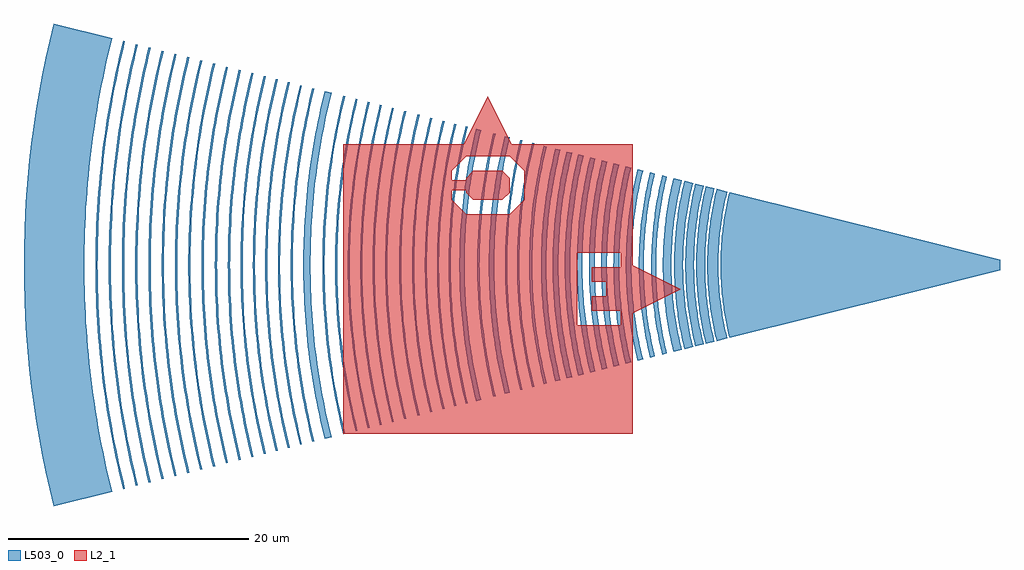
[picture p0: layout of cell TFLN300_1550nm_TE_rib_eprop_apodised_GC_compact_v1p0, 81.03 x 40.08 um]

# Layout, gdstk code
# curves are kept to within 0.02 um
import gdstk
lib = gdstk.Library(unit=1e-6, precision=1e-09)
def P(c, l, *ps):  # polygons
    for p in ps: c.add(gdstk.Polygon(p, *l))
L2_1 = (2, 1)
L503_0 = (503, 0)

tfln300_1550nm_te_rib_ep = lib.new_cell('TFLN300_1550nm_TE_rib_eprop_apodised_GC_compact_v1p0')
P(tfln300_1550nm_te_rib_ep, L2_1, [(-54.542,-14.028),(-54.542,1.001),(-35.102,1.001),(-35.102,-5.011),(-31.495,-5.011),(-31.495,-3.809),(-33.899,-3.809),(-33.899,-2.606),(-32.697,-2.606),(-32.697,-1.404),(-33.899,-1.404),(-33.899,-0.202),(-31.495,-0.202),(-31.495,1.001),(-54.542,1.001),(-54.542,9.019),(-44.322,9.019),(-45.525,7.816),(-45.525,7.035),(-44.322,7.035),(-44.322,7.215),(-43.721,7.816),(-41.317,7.816),(-40.715,7.215),(-40.715,6.013),(-41.317,5.412),(-43.721,5.412),(-44.322,6.013),(-44.322,6.193),(-45.525,6.193),(-45.525,5.412),(-44.322,4.209),(-40.715,4.209),(-39.513,5.412),(-39.513,7.816),(-40.715,9.019),(-54.542,9.019),(-54.542,10.019),(-44.523,10.019),(-42.519,14.027),(-40.515,10.019),(-30.496,10.019),(-30.495,-0.001),(-26.487,-2.005),(-30.495,-4.009),(-30.495,-14.028)])
P(tfln300_1550nm_te_rib_ep, L503_0, [(-22.452,-6.048),(-22.776,-4.556),(-23.009,-3.047),(-23.148,-1.526),(-23.195,0),(-23.148,1.526),(-23.009,3.047),(-22.776,4.556),(-22.452,6.048),(0,0.45),(0,-0.45)],
  [(-23.52,-6.314),(-23.858,-4.756),(-24.1,-3.181),(-24.246,-1.593),(-24.295,0),(-24.246,1.593),(-24.1,3.181),(-23.858,4.756),(-23.52,6.314),(-22.639,6.094),(-22.966,4.591),(-23.201,3.07),(-23.341,1.538),(-23.388,0),(-23.341,-1.538),(-23.201,-3.07),(-22.966,-4.591),(-22.639,-6.094)],
  [(-24.412,-6.536),(-24.763,-4.924),(-25.014,-3.293),(-25.165,-1.65),(-25.215,0),(-25.165,1.65),(-25.014,3.293),(-24.763,4.924),(-24.412,6.536),(-23.707,6.361),(-24.048,4.791),(-24.292,3.204),(-24.439,1.605),(-24.488,0),(-24.439,-1.605),(-24.292,-3.204),(-24.048,-4.791),(-23.707,-6.361)],
  [(-25.286,-6.754),(-25.647,-5.088),(-25.907,-3.403),(-26.063,-1.704),(-26.115,0),(-26.063,1.704),(-25.907,3.403),(-25.647,5.088),(-25.286,6.754),(-24.599,6.583),(-24.953,4.959),(-25.206,3.316),(-25.358,1.662),(-25.408,0),(-25.358,-1.662),(-25.206,-3.316),(-24.953,-4.959),(-24.599,-6.583)],
  [(-26.193,-6.98),(-26.567,-5.258),(-26.835,-3.517),(-26.996,-1.762),(-27.05,0),(-26.996,1.762),(-26.835,3.517),(-26.567,5.258),(-26.193,6.98),(-25.486,6.804),(-25.894,4.884),(-26.141,3.184),(-26.283,1.472),(-26.321,0),(-26.283,-1.472),(-26.141,-3.184),(-25.894,-4.884),(-25.486,-6.804)],
  [(-27.101,-7.207),(-27.487,-5.429),(-27.764,-3.631),(-27.93,-1.819),(-27.986,0),(-27.93,1.819),(-27.764,3.631),(-27.487,5.429),(-27.101,7.207),(-26.419,7.037),(-26.796,5.301),(-27.066,3.546),(-27.229,1.776),(-27.283,0),(-27.229,-1.776),(-27.066,-3.546),(-26.796,-5.301),(-26.419,-7.037)],
  [(-28.031,-7.439),(-28.429,-5.604),(-28.715,-3.747),(-28.887,-1.877),(-28.944,0),(-28.887,1.877),(-28.715,3.747),(-28.429,5.604),(-28.031,7.439),(-27.65,7.344),(-28.044,5.531),(-28.326,3.699),(-28.495,1.854),(-28.552,0),(-28.495,-1.854),(-28.326,-3.699),(-28.044,-5.531),(-27.65,-7.344)],
  [(-29.037,-7.69),(-29.449,-5.793),(-29.744,-3.874),(-29.922,-1.94),(-29.981,0),(-29.922,1.94),(-29.744,3.874),(-29.449,5.793),(-29.037,7.69),(-28.646,7.591),(-29.052,5.72),(-29.344,3.824),(-29.52,1.916),(-29.578,0),(-29.52,-1.916),(-29.344,-3.824),(-29.052,-5.72),(-28.646,-7.591)],
  [(-30.084,-7.951),(-30.51,-5.989),(-30.815,-4.005),(-30.999,-2.006),(-31.06,0),(-30.999,2.006),(-30.815,4.005),(-30.51,5.989),(-30.084,7.951),(-29.637,7.839),(-30.057,5.906),(-30.357,3.95),(-30.539,1.977),(-30.599,0),(-30.539,-1.977),(-30.357,-3.95),(-30.057,-5.906),(-29.637,-7.839)],
  [(-31.081,-8.199),(-31.52,-6.177),(-31.835,-4.131),(-32.025,-2.069),(-32.088,0),(-32.025,2.069),(-31.835,4.131),(-31.52,6.177),(-31.081,8.199),(-30.626,8.086),(-31.06,6.091),(-31.37,4.073),(-31.557,2.04),(-31.619,0),(-31.557,-2.04),(-31.37,-4.073),(-31.06,-6.091),(-30.626,-8.086)],
  [(-32.065,-8.445),(-32.517,-6.361),(-32.842,-4.254),(-33.037,-2.131),(-33.102,0),(-33.037,2.131),(-32.842,4.254),(-32.517,6.361),(-32.065,8.445),(-31.615,8.332),(-32.062,6.278),(-32.382,4.198),(-32.575,2.103),(-32.639,0),(-32.575,-2.103),(-32.382,-4.198),(-32.062,-6.278),(-31.615,-8.332)],
  [(-33.051,-8.69),(-33.516,-6.546),(-33.85,-4.378),(-34.051,-2.193),(-34.118,0),(-34.051,2.193),(-33.85,4.378),(-33.516,6.546),(-33.051,8.69),(-32.603,8.579),(-33.063,6.462),(-33.393,4.322),(-33.591,2.165),(-33.657,0),(-33.591,-2.165),(-33.393,-4.322),(-33.063,-6.462),(-32.603,-8.579)],
  [(-34.027,-8.934),(-34.506,-6.73),(-34.849,-4.501),(-35.055,-2.254),(-35.124,0),(-35.055,2.254),(-34.849,4.501),(-34.506,6.73),(-34.027,8.934),(-33.593,8.826),(-34.065,6.648),(-34.404,4.446),(-34.608,2.228),(-34.676,0),(-34.608,-2.228),(-34.404,-4.446),(-34.065,-6.648),(-33.593,-8.826)],
  [(-35.005,-9.178),(-35.497,-6.913),(-35.849,-4.623),(-36.061,-2.316),(-36.132,0),(-36.061,2.316),(-35.849,4.623),(-35.497,6.913),(-35.005,9.178),(-34.568,9.069),(-35.055,6.831),(-35.403,4.569),(-35.612,2.288),(-35.682,0),(-35.612,-2.288),(-35.403,-4.569),(-35.055,-6.831),(-34.568,-9.069)],
  [(-35.985,-9.422),(-36.49,-7.098),(-36.852,-4.746),(-37.069,-2.378),(-37.142,0),(-37.069,2.378),(-36.852,4.746),(-36.49,7.098),(-35.985,9.422),(-35.52,9.306),(-36.019,7.01),(-36.376,4.688),(-36.591,2.348),(-36.663,0),(-36.591,-2.348),(-36.376,-4.688),(-36.019,-7.01),(-35.52,-9.306)],
  [(-36.913,-9.653),(-37.43,-7.272),(-37.801,-4.863),(-38.024,-2.436),(-38.098,0),(-38.024,2.436),(-37.801,4.863),(-37.43,7.272),(-36.913,9.653),(-36.496,9.549),(-37.008,7.194),(-37.375,4.81),(-37.595,2.411),(-37.669,0),(-37.595,-2.411),(-37.375,-4.81),(-37.008,-7.194),(-36.496,-9.549)],
  [(-37.866,-9.891),(-38.395,-7.451),(-38.775,-4.983),(-39.004,-2.496),(-39.08,0),(-39.004,2.496),(-38.775,4.983),(-38.395,7.451),(-37.866,9.891),(-37.627,9.831),(-38.154,7.406),(-38.532,4.952),(-38.759,2.48),(-38.834,0),(-38.759,-2.48),(-38.532,-4.952),(-38.154,-7.406),(-37.627,-9.831)],
  [(-38.841,-10.134),(-39.17,-8.709),(-39.384,-7.634),(-39.625,-6.192),(-39.773,-5.105),(-39.926,-3.651),(-40.007,-2.557),(-40.071,-1.097),(-40.085,0),(-40.071,1.097),(-40.007,2.557),(-39.926,3.651),(-39.773,5.105),(-39.625,6.192),(-39.384,7.634),(-39.17,8.709),(-38.841,10.134),(-38.676,10.092),(-39.004,8.673),(-39.281,7.245),(-39.509,5.806),(-39.686,4.362),(-39.858,2.183),(-39.915,0),(-39.858,-2.183),(-39.686,-4.362),(-39.509,-5.806),(-39.281,-7.245),(-39.004,-8.673),(-38.676,-10.092)],
  [(-39.809,-10.375),(-40.146,-8.917),(-40.365,-7.816),(-40.612,-6.339),(-40.763,-5.227),(-40.886,-4.111),(-41.003,-2.618),(-41.057,-1.497),(-41.083,0),(-41.057,1.497),(-41.003,2.618),(-40.886,4.111),(-40.763,5.227),(-40.612,6.339),(-40.365,7.816),(-40.146,8.917),(-39.809,10.375),(-39.657,10.337),(-39.993,8.884),(-40.211,7.788),(-40.457,6.316),(-40.652,4.838),(-40.764,3.725),(-40.868,2.236),(-40.926,0),(-40.868,-2.236),(-40.764,-3.725),(-40.652,-4.838),(-40.457,-6.316),(-40.211,-7.788),(-39.993,-8.884),(-39.657,-10.337)],
  [(-41.12,-10.702),(-41.467,-9.198),(-41.693,-8.062),(-41.948,-6.539),(-42.104,-5.391),(-42.266,-3.856),(-42.351,-2.701),(-42.419,-1.158),(-42.434,0),(-42.419,1.158),(-42.351,2.701),(-42.266,3.856),(-42.104,5.391),(-41.948,6.539),(-41.693,8.062),(-41.467,9.198),(-41.12,10.702),(-40.688,10.594),(-40.951,9.479),(-41.256,7.981),(-41.508,6.473),(-41.662,5.337),(-41.788,4.198),(-41.907,2.672),(-41.974,1.146),(-41.989,0),(-41.974,-1.146),(-41.907,-2.672),(-41.788,-4.198),(-41.662,-5.337),(-41.508,-6.473),(-41.256,-7.981),(-40.951,-9.479),(-40.688,-10.594)],
  [(-42.051,-10.934),(-42.323,-9.783),(-42.637,-8.237),(-42.838,-7.071),(-43.057,-5.508),(-43.186,-4.332),(-43.31,-2.759),(-43.379,-1.183),(-43.394,0),(-43.379,1.183),(-43.31,2.759),(-43.186,4.332),(-43.057,5.508),(-42.838,7.071),(-42.637,8.237),(-42.323,9.783),(-42.051,10.934),(-41.877,10.891),(-42.23,9.361),(-42.53,7.817),(-42.775,6.266),(-42.968,4.705),(-43.152,2.356),(-43.214,0),(-43.152,-2.356),(-42.968,-4.705),(-42.775,-6.266),(-42.53,-7.817),(-42.23,-9.361),(-41.877,-10.891)],
  [(-43.492,-11.294),(-43.859,-9.706),(-44.097,-8.507),(-44.304,-7.303),(-44.531,-5.689),(-44.664,-4.474),(-44.792,-2.85),(-44.851,-1.629),(-44.879,0),(-44.851,1.629),(-44.792,2.85),(-44.664,4.474),(-44.531,5.689),(-44.304,7.303),(-44.097,8.507),(-43.859,9.706),(-43.492,11.294),(-43.082,11.191),(-43.361,10.012),(-43.682,8.43),(-43.888,7.238),(-44.112,5.637),(-44.244,4.434),(-44.371,2.824),(-44.442,1.211),(-44.457,0),(-44.442,-1.211),(-44.371,-2.824),(-44.244,-4.434),(-44.112,-5.637),(-43.888,-7.238),(-43.682,-8.43),(-43.361,-10.012),(-43.082,-11.191)],
  [(-44.357,-11.509),(-44.642,-10.297),(-44.973,-8.67),(-45.184,-7.442),(-45.415,-5.798),(-45.551,-4.56),(-45.681,-2.904),(-45.754,-1.245),(-45.77,0),(-45.754,1.245),(-45.681,2.904),(-45.551,4.56),(-45.415,5.798),(-45.184,7.442),(-44.973,8.67),(-44.642,10.297),(-44.357,11.509),(-44.196,11.469),(-44.568,9.857),(-44.884,8.233),(-45.143,6.598),(-45.344,4.956),(-45.458,3.72),(-45.539,2.481),(-45.588,1.241),(-45.604,0),(-45.588,-1.241),(-45.539,-2.481),(-45.458,-3.72),(-45.344,-4.956),(-45.143,-6.598),(-44.884,-8.233),(-44.568,-9.857),(-44.196,-11.469)],
  [(-45.297,-11.744),(-45.678,-10.093),(-45.926,-8.846),(-46.206,-7.175),(-46.377,-5.916),(-46.516,-4.653),(-46.648,-2.964),(-46.722,-1.271),(-46.739,0),(-46.722,1.271),(-46.648,2.964),(-46.516,4.653),(-46.377,5.916),(-46.206,7.175),(-45.926,8.846),(-45.678,10.093),(-45.297,11.744),(-45.145,11.705),(-45.524,10.06),(-45.847,8.403),(-46.111,6.734),(-46.317,5.058),(-46.433,3.797),(-46.516,2.533),(-46.566,1.267),(-46.582,0),(-46.566,-1.267),(-46.516,-2.533),(-46.433,-3.797),(-46.317,-5.058),(-46.111,-6.734),(-45.847,-8.403),(-45.524,-10.06),(-45.145,-11.705)],
  [(-46.268,-11.986),(-46.566,-10.724),(-46.91,-9.029),(-47.196,-7.323),(-47.371,-6.038),(-47.512,-4.749),(-47.648,-3.025),(-47.71,-1.729),(-47.74,0),(-47.71,1.729),(-47.648,3.025),(-47.512,4.749),(-47.371,6.038),(-47.196,7.323),(-46.91,9.029),(-46.566,10.724),(-46.268,11.986),(-46.116,11.948),(-46.504,10.268),(-46.833,8.577),(-47.103,6.874),(-47.266,5.591),(-47.395,4.304),(-47.515,2.586),(-47.566,1.294),(-47.583,0),(-47.566,-1.294),(-47.515,-2.586),(-47.395,-4.304),(-47.266,-5.591),(-47.103,-6.874),(-46.833,-8.577),(-46.504,-10.268),(-46.116,-11.948)],
  [(-47.292,-12.241),(-47.596,-10.952),(-47.948,-9.221),(-48.172,-7.916),(-48.418,-6.167),(-48.562,-4.85),(-48.701,-3.089),(-48.778,-1.325),(-48.795,0),(-48.778,1.325),(-48.701,3.089),(-48.562,4.85),(-48.418,6.167),(-48.172,7.916),(-47.948,9.221),(-47.596,10.952),(-47.292,12.241),(-47.14,12.203),(-47.444,10.918),(-47.794,9.192),(-48.085,7.456),(-48.315,5.711),(-48.447,4.396),(-48.57,2.64),(-48.622,1.32),(-48.639,0),(-48.622,-1.32),(-48.57,-2.64),(-48.447,-4.396),(-48.315,-5.711),(-48.085,-7.456),(-47.794,-9.192),(-47.444,-10.918),(-47.14,-12.203)],
  [(-48.342,-12.503),(-48.748,-10.745),(-49.012,-9.418),(-49.241,-8.085),(-49.492,-6.298),(-49.639,-4.954),(-49.781,-3.155),(-49.846,-1.804),(-49.877,0),(-49.846,1.804),(-49.781,3.155),(-49.639,4.954),(-49.492,6.298),(-49.241,8.085),(-49.012,9.418),(-48.748,10.745),(-48.342,12.503),(-48.189,12.465),(-48.499,11.152),(-48.858,9.39),(-49.154,7.616),(-49.389,5.833),(-49.561,4.043),(-49.65,2.696),(-49.703,1.349),(-49.72,0),(-49.703,-1.349),(-49.65,-2.696),(-49.561,-4.043),(-49.389,-5.833),(-49.154,-7.616),(-48.858,-9.39),(-48.499,-11.152),(-48.189,-12.465)],
  [(-49.464,-12.783),(-49.782,-11.436),(-50.149,-9.629),(-50.454,-7.81),(-50.64,-6.439),(-50.791,-5.064),(-50.935,-3.226),(-51.002,-1.844),(-51.034,0),(-51.002,1.844),(-50.935,3.226),(-50.791,5.064),(-50.64,6.439),(-50.454,7.81),(-50.149,9.629),(-49.782,11.436),(-49.464,12.783),(-49.312,12.745),(-49.726,10.952),(-49.995,9.601),(-50.298,7.786),(-50.539,5.964),(-50.676,4.592),(-50.779,3.216),(-50.845,1.838),(-50.877,0),(-50.845,-1.838),(-50.779,-3.216),(-50.676,-4.592),(-50.539,-5.964),(-50.298,-7.786),(-49.995,-9.601),(-49.726,-10.952),(-49.312,-12.745)],
  [(-50.477,-13.035),(-50.901,-11.203),(-51.176,-9.819),(-51.415,-8.429),(-51.676,-6.567),(-51.873,-4.696),(-51.977,-3.289),(-52.06,-1.41),(-52.078,0),(-52.06,1.41),(-51.977,3.289),(-51.873,4.696),(-51.676,6.567),(-51.415,8.429),(-51.176,9.819),(-50.901,11.203),(-50.477,13.035),(-50.325,12.997),(-50.747,11.17),(-51.105,9.329),(-51.398,7.477),(-51.627,5.616),(-51.755,4.215),(-51.848,2.812),(-51.903,1.406),(-51.921,0),(-51.903,-1.406),(-51.848,-2.812),(-51.755,-4.215),(-51.627,-5.616),(-51.398,-7.477),(-51.105,-9.329),(-50.747,-11.17),(-50.325,-12.997)],
  [(-51.476,-13.284),(-51.907,-11.417),(-52.187,-10.007),(-52.504,-8.117),(-52.698,-6.692),(-52.898,-4.786),(-53.005,-3.352),(-53.074,-1.916),(-53.107,0),(-53.074,1.916),(-53.005,3.352),(-52.898,4.786),(-52.698,6.692),(-52.504,8.117),(-52.187,10.007),(-51.907,11.417),(-51.476,13.284),(-51.323,13.246),(-51.754,11.384),(-52.033,9.978),(-52.348,8.093),(-52.598,6.199),(-52.742,4.772),(-52.875,2.866),(-52.932,1.433),(-52.95,0),(-52.932,-1.433),(-52.875,-2.866),(-52.742,-4.772),(-52.598,-6.199),(-52.348,-8.093),(-52.033,-9.978),(-51.754,-11.384),(-51.323,-13.246)],
  [(-52.482,-13.535),(-52.818,-12.11),(-53.207,-10.196),(-53.455,-8.752),(-53.727,-6.818),(-53.931,-4.876),(-54.04,-3.416),(-54.125,-1.465),(-54.144,0),(-54.125,1.465),(-54.04,3.416),(-53.931,4.876),(-53.727,6.818),(-53.455,8.752),(-53.207,10.196),(-52.818,12.11),(-52.482,13.535),(-52.33,13.497),(-52.768,11.601),(-53.14,9.688),(-53.445,7.764),(-53.628,6.315),(-53.775,4.863),(-53.911,2.92),(-53.968,1.46),(-53.987,0),(-53.968,-1.46),(-53.911,-2.92),(-53.775,-4.863),(-53.628,-6.315),(-53.445,-7.764),(-53.14,-9.688),(-52.768,-11.601),(-52.33,-13.497)],
  [(-53.495,-13.788),(-53.943,-11.85),(-54.234,-10.386),(-54.562,-8.424),(-54.763,-6.946),(-54.926,-5.463),(-55.082,-3.479),(-55.153,-1.989),(-55.188,0),(-55.153,1.989),(-55.082,3.479),(-54.926,5.463),(-54.763,6.946),(-54.562,8.424),(-54.234,10.386),(-53.943,11.85),(-53.495,13.788),(-53.344,13.75),(-53.685,12.302),(-54.08,10.358),(-54.407,8.402),(-54.666,6.435),(-54.816,4.954),(-54.926,3.47),(-55.013,1.488),(-55.032,0),(-55.013,-1.488),(-54.926,-3.47),(-54.816,-4.954),(-54.666,-6.435),(-54.407,-8.402),(-54.08,-10.358),(-53.685,-12.302),(-53.344,-13.75)],
  [(-54.523,-14.044),(-54.871,-12.565),(-55.275,-10.579),(-55.609,-8.581),(-55.814,-7.075),(-55.98,-5.564),(-56.139,-3.544),(-56.212,-2.026),(-56.247,0),(-56.212,2.026),(-56.139,3.544),(-55.98,5.564),(-55.814,7.075),(-55.609,8.581),(-55.275,10.579),(-54.871,12.565),(-54.523,14.044),(-54.37,14.006),(-54.825,12.038),(-55.121,10.55),(-55.454,8.557),(-55.718,6.554),(-55.87,5.045),(-56.011,3.03),(-56.07,1.516),(-56.09,0),(-56.07,-1.516),(-56.011,-3.03),(-55.87,-5.045),(-55.718,-6.554),(-55.454,-8.557),(-55.121,-10.55),(-54.825,-12.038),(-54.37,-14.006)],
  [(-56.065,-14.428),(-56.534,-12.4),(-56.838,-10.869),(-57.103,-9.33),(-57.392,-7.269),(-57.61,-5.198),(-57.726,-3.641),(-57.817,-1.561),(-57.837,0),(-57.817,1.561),(-57.726,3.641),(-57.61,5.198),(-57.392,7.269),(-57.103,9.33),(-56.838,10.869),(-56.534,12.4),(-56.065,14.428),(-55.495,14.286),(-55.849,12.782),(-56.26,10.762),(-56.522,9.237),(-56.808,7.198),(-56.977,5.66),(-57.139,3.604),(-57.229,1.546),(-57.249,0),(-57.229,-1.546),(-57.139,-3.604),(-56.977,-5.66),(-56.808,-7.198),(-56.522,-9.237),(-56.26,-10.762),(-55.849,-12.782),(-55.495,-14.286)],
  [(-57.08,-14.681),(-57.557,-12.618),(-57.867,-11.06),(-58.136,-9.494),(-58.431,-7.396),(-58.604,-5.817),(-58.77,-3.705),(-58.846,-2.118),(-58.883,0),(-58.846,2.118),(-58.77,3.705),(-58.604,5.817),(-58.431,7.396),(-58.136,9.494),(-57.867,11.06),(-57.557,12.618),(-57.08,14.681),(-56.928,14.644),(-57.403,12.585),(-57.806,10.512),(-58.137,8.425),(-58.337,6.853),(-58.496,5.276),(-58.643,3.167),(-58.706,1.584),(-58.726,0),(-58.706,-1.584),(-58.643,-3.167),(-58.496,-5.276),(-58.337,-6.853),(-58.137,-8.425),(-57.806,-10.512),(-57.403,-12.585),(-56.928,-14.644)],
  [(-58.102,-14.936),(-58.587,-12.837),(-58.902,-11.251),(-59.258,-9.126),(-59.476,-7.524),(-59.652,-5.918),(-59.821,-3.769),(-59.915,-1.616),(-59.936,0),(-59.915,1.616),(-59.821,3.769),(-59.652,5.918),(-59.476,7.524),(-59.258,9.126),(-58.902,11.251),(-58.587,12.837),(-58.102,14.936),(-57.95,14.898),(-58.434,12.805),(-58.749,11.223),(-59.103,9.102),(-59.384,6.972),(-59.546,5.367),(-59.696,3.223),(-59.759,1.613),(-59.78,0),(-59.759,-1.613),(-59.696,-3.223),(-59.546,-5.367),(-59.384,-6.972),(-59.103,-9.102),(-58.749,-11.223),(-58.434,-12.805),(-57.95,-14.898)],
  [(-59.126,-15.192),(-59.619,-13.056),(-59.939,-11.444),(-60.218,-9.823),(-60.523,-7.653),(-60.702,-6.019),(-60.874,-3.834),(-60.953,-2.192),(-60.991,0),(-60.953,2.192),(-60.874,3.834),(-60.702,6.019),(-60.523,7.653),(-60.218,9.823),(-59.939,11.444),(-59.619,13.056),(-59.126,15.192),(-58.973,15.153),(-59.465,13.024),(-59.785,11.414),(-60.146,9.259),(-60.431,7.091),(-60.596,5.459),(-60.748,3.278),(-60.813,1.64),(-60.834,0),(-60.813,-1.64),(-60.748,-3.278),(-60.596,-5.459),(-60.431,-7.091),(-60.146,-9.259),(-59.785,-11.414),(-59.465,-13.024),(-58.973,-15.153)],
  [(-60.122,-15.44),(-60.505,-13.814),(-60.949,-11.631),(-61.317,-9.434),(-61.542,-7.778),(-61.775,-5.563),(-61.899,-3.896),(-61.996,-1.671),(-62.018,0),(-61.996,1.671),(-61.899,3.896),(-61.775,5.563),(-61.542,7.778),(-61.317,9.434),(-60.949,11.631),(-60.505,13.814),(-60.122,15.44),(-59.97,15.402),(-60.47,13.237),(-60.894,11.056),(-61.241,8.861),(-61.451,7.207),(-61.619,5.548),(-61.774,3.331),(-61.839,1.666),(-61.861,0),(-61.839,-1.666),(-61.774,-3.331),(-61.619,-5.548),(-61.451,-7.207),(-61.241,-8.861),(-60.894,-11.056),(-60.47,-13.237),(-59.97,-15.402)],
  [(-61.116,-15.688),(-61.505,-14.035),(-61.956,-11.817),(-62.244,-10.144),(-62.559,-7.903),(-62.795,-5.652),(-62.921,-3.959),(-63.02,-1.697),(-63.042,0),(-63.02,1.697),(-62.921,3.959),(-62.795,5.652),(-62.559,7.903),(-62.244,10.144),(-61.956,11.817),(-61.625,13.482),(-61.116,15.688),(-60.964,15.65),(-61.472,13.451),(-61.903,11.234),(-62.257,9.003),(-62.47,7.323),(-62.64,5.639),(-62.798,3.385),(-62.864,1.694),(-62.886,0),(-62.864,-1.694),(-62.798,-3.385),(-62.64,-5.639),(-62.47,-7.323),(-62.257,-9.003),(-61.903,-11.234),(-61.472,-13.451),(-60.964,-15.65)],
  [(-62.137,-15.942),(-62.533,-14.263),(-62.991,-12.009),(-63.284,-10.309),(-63.604,-8.031),(-63.792,-6.316),(-63.972,-4.023),(-64.055,-2.3),(-64.095,0),(-64.055,2.3),(-63.972,4.023),(-63.792,6.316),(-63.604,8.031),(-63.284,10.309),(-62.991,12.009),(-62.533,14.263),(-62.137,15.942),(-61.976,15.902),(-62.492,13.666),(-62.929,11.415),(-63.206,9.716),(-63.505,7.441),(-63.678,5.73),(-63.838,3.44),(-63.906,1.72),(-63.928,0),(-63.906,-1.72),(-63.838,-3.44),(-63.678,-5.73),(-63.505,-7.441),(-63.206,-9.716),(-62.929,-11.415),(-62.492,-13.666),(-61.976,-15.902)],
  [(-63.184,-16.203),(-63.586,-14.497),(-64.052,-12.206),(-64.349,-10.478),(-64.675,-8.163),(-64.866,-6.42),(-65.049,-4.089),(-65.151,-1.753),(-65.174,0),(-65.151,1.753),(-65.049,4.089),(-64.866,6.42),(-64.675,8.163),(-64.349,10.478),(-64.052,12.206),(-63.71,13.926),(-63.184,16.203),(-63.022,16.163),(-63.547,13.891),(-63.992,11.602),(-64.357,9.299),(-64.577,7.563),(-64.753,5.823),(-64.916,3.497),(-64.984,1.749),(-65.007,0),(-64.984,-1.749),(-64.916,-3.497),(-64.753,-5.823),(-64.577,-7.563),(-64.357,-9.299),(-63.992,-11.602),(-63.547,-13.891),(-63.022,-16.163)],
  [(-64.254,-16.47),(-64.788,-14.155),(-65.136,-12.407),(-65.438,-10.65),(-65.769,-8.297),(-65.963,-6.525),(-66.149,-4.156),(-66.235,-2.376),(-66.276,0),(-66.235,2.376),(-66.149,4.156),(-65.963,6.525),(-65.769,8.297),(-65.438,10.65),(-65.136,12.407),(-64.788,14.155),(-64.254,16.47),(-64.097,16.431),(-64.63,14.122),(-65.083,11.794),(-65.454,9.453),(-65.678,7.688),(-65.906,5.329),(-66.022,3.554),(-66.092,1.778),(-66.115,0),(-66.092,-1.778),(-66.022,-3.554),(-65.906,-5.329),(-65.678,-7.688),(-65.454,-9.453),(-65.083,-11.794),(-64.63,-14.122),(-64.097,-16.431)],
  [(-65.322,-16.736),(-65.737,-14.974),(-66.219,-12.607),(-66.617,-10.226),(-66.861,-8.431),(-67.114,-6.03),(-67.248,-4.223),(-67.335,-2.414),(-67.377,0),(-67.335,2.414),(-67.248,4.223),(-67.114,6.03),(-66.861,8.431),(-66.617,10.226),(-66.219,12.607),(-65.737,14.974),(-65.322,16.736),(-65.167,16.698),(-65.708,14.351),(-66.169,11.985),(-66.459,10.202),(-66.773,7.813),(-67.004,5.416),(-67.123,3.612),(-67.194,1.807),(-67.217,0),(-67.194,-1.807),(-67.123,-3.612),(-67.004,-5.416),(-66.773,-7.813),(-66.459,-10.202),(-66.169,-11.985),(-65.708,-14.351),(-65.167,-16.698)],
  [(-66.391,-17.003),(-66.813,-15.212),(-67.302,-12.808),(-67.614,-10.995),(-67.955,-8.565),(-68.212,-6.126),(-68.348,-4.291),(-68.455,-1.84),(-68.479,0),(-68.455,1.84),(-68.348,4.291),(-68.212,6.126),(-67.955,8.565),(-67.614,10.995),(-67.302,12.808),(-66.813,15.212),(-66.391,17.003),(-66.235,16.964),(-66.785,14.58),(-67.253,12.176),(-67.636,9.759),(-67.867,7.939),(-68.102,5.501),(-68.222,3.67),(-68.294,1.835),(-68.318,0),(-68.294,-1.835),(-68.222,-3.67),(-68.102,-5.501),(-67.867,-7.939),(-67.636,-9.759),(-67.253,-12.176),(-66.785,-14.58),(-66.235,-16.964)],
  [(-67.461,-17.27),(-67.889,-15.451),(-68.386,-13.009),(-68.797,-10.552),(-69.049,-8.7),(-69.309,-6.222),(-69.448,-4.358),(-69.557,-1.869),(-69.581,0),(-69.557,1.869),(-69.448,4.358),(-69.309,6.222),(-69.049,8.7),(-68.797,10.552),(-68.386,13.009),(-67.889,15.451),(-67.461,17.27),(-67.304,17.231),(-67.863,14.809),(-68.338,12.368),(-68.638,10.528),(-68.962,8.063),(-69.149,6.208),(-69.323,3.727),(-69.396,1.865),(-69.42,0),(-69.396,-1.865),(-69.323,-3.727),(-69.149,-6.208),(-68.962,-8.063),(-68.638,-10.528),(-68.338,-12.368),(-67.863,-14.809),(-67.304,-17.231)],
  [(-68.529,-17.536),(-68.964,-15.689),(-69.468,-13.21),(-69.79,-11.339),(-70.142,-8.834),(-70.406,-6.318),(-70.547,-4.425),(-70.638,-2.53),(-70.682,0),(-70.638,2.53),(-70.547,4.425),(-70.406,6.318),(-70.142,8.834),(-69.79,11.339),(-69.468,13.21),(-68.964,15.689),(-68.529,17.536),(-68.374,17.497),(-68.808,15.655),(-69.311,13.18),(-69.728,10.691),(-70.057,8.187),(-70.299,5.675),(-70.423,3.785),(-70.498,1.893),(-70.522,0),(-70.498,-1.893),(-70.423,-3.785),(-70.299,-5.675),(-70.057,-8.187),(-69.728,-10.691),(-69.311,-13.18),(-68.808,-15.655),(-68.374,-17.497)],
  [(-69.598,-17.803),(-70.04,-15.928),(-70.552,-13.411),(-70.976,-10.877),(-71.235,-8.968),(-71.504,-6.414),(-71.647,-4.493),(-71.759,-1.926),(-71.784,0),(-71.759,1.926),(-71.647,4.493),(-71.504,6.414),(-71.235,8.968),(-70.976,10.877),(-70.552,13.411),(-70.04,15.928),(-69.598,17.803),(-69.442,17.764),(-70.018,15.267),(-70.508,12.751),(-70.909,10.219),(-71.151,8.312),(-71.397,5.761),(-71.523,3.843),(-71.598,1.922),(-71.623,0),(-71.598,-1.922),(-71.523,-3.843),(-71.397,-5.761),(-71.151,-8.312),(-70.909,-10.219),(-70.508,-12.751),(-70.018,-15.267),(-69.442,-17.764)],
  [(-70.666,-18.069),(-71.115,-16.166),(-71.634,-13.611),(-72.065,-11.04),(-72.328,-9.102),(-72.601,-6.51),(-72.746,-4.56),(-72.84,-2.607),(-72.885,0),(-72.84,2.607),(-72.746,4.56),(-72.601,6.51),(-72.328,9.102),(-72.065,11.04),(-71.634,13.611),(-71.115,16.166),(-70.666,18.069),(-70.511,18.03),(-71.096,15.496),(-71.593,12.942),(-71.907,11.016),(-72.246,8.438),(-72.495,5.848),(-72.623,3.9),(-72.7,1.951),(-72.725,0),(-72.7,-1.951),(-72.623,-3.9),(-72.495,-5.848),(-72.246,-8.438),(-71.907,-11.016),(-71.593,-12.942),(-71.096,-15.496),(-70.511,-18.03)],
  [(-71.736,-18.336),(-72.331,-15.758),(-72.718,-13.812),(-73.054,-11.856),(-73.422,-9.237),(-73.699,-6.606),(-73.846,-4.627),(-73.941,-2.645),(-73.987,0),(-73.941,2.645),(-73.846,4.627),(-73.699,6.606),(-73.422,9.237),(-73.054,11.856),(-72.718,13.812),(-72.331,15.758),(-71.736,18.336),(-71.579,18.296),(-72.173,15.725),(-72.677,13.134),(-72.996,11.179),(-73.34,8.562),(-73.593,5.934),(-73.723,3.958),(-73.8,1.98),(-73.826,0),(-73.8,-1.98),(-73.723,-3.958),(-73.593,-5.934),(-73.34,-8.562),(-72.996,-11.179),(-72.677,-13.134),(-72.173,-15.725),(-71.579,-18.296)],
  [(-72.804,-18.602),(-73.408,-15.987),(-73.8,-14.013),(-74.141,-12.029),(-74.515,-9.371),(-74.734,-7.37),(-74.945,-4.694),(-75.062,-2.013),(-75.088,0),(-75.062,2.013),(-74.945,4.694),(-74.734,7.37),(-74.515,9.371),(-74.141,12.029),(-73.8,14.013),(-73.408,15.987),(-72.804,18.602),(-72.649,18.563),(-73.251,15.954),(-73.763,13.325),(-74.181,10.68),(-74.435,8.687),(-74.636,6.688),(-74.823,4.016),(-74.902,2.008),(-74.928,0),(-74.902,-2.008),(-74.823,-4.016),(-74.636,-6.688),(-74.435,-8.687),(-74.181,-10.68),(-73.763,-13.325),(-73.251,-15.954),(-72.649,-18.563)],
  [(-78.568,-20.039),(-79.219,-17.222),(-79.771,-14.384),(-80.223,-11.528),(-80.412,-10.095),(-80.714,-7.219),(-80.827,-5.778),(-80.979,-2.891),(-81.029,0),(-80.979,2.891),(-80.827,5.778),(-80.714,7.219),(-80.412,10.095),(-80.223,11.528),(-79.771,14.384),(-79.219,17.222),(-78.568,20.039),(-73.717,18.829),(-74.184,16.847),(-74.725,14.185),(-75.174,11.505),(-75.449,9.486),(-75.671,7.46),(-75.884,4.751),(-76.003,2.038),(-76.029,0),(-76.003,-2.038),(-75.884,-4.751),(-75.671,-7.46),(-75.449,-9.486),(-75.174,-11.505),(-74.725,-14.185),(-74.184,-16.847),(-73.717,-18.829)])

lib.write_gds('TFLN300_1550nm_TE_rib_eprop_apodised_GC_compact_v1p0.gds')
